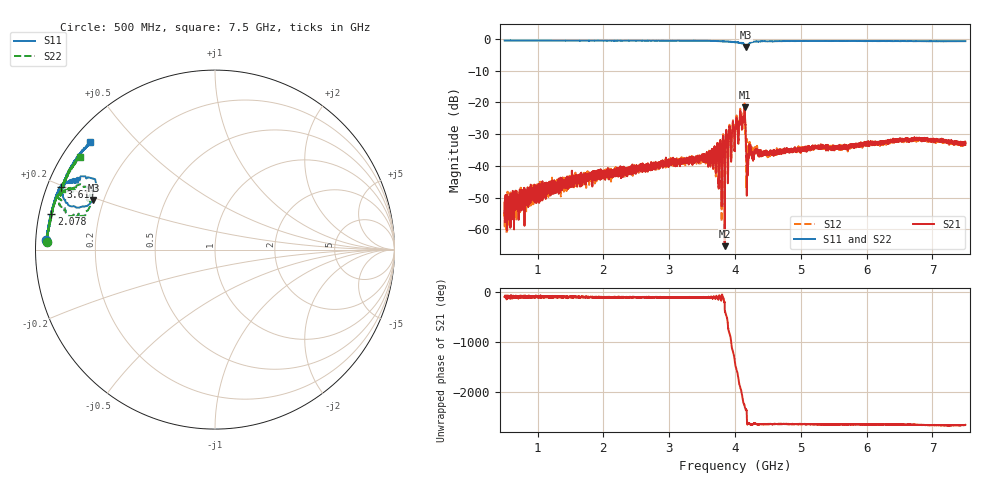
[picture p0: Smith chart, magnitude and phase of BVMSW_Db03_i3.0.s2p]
!Keysight Technologies,M9374A,MY55442783,A.12.55.05
!Date: Friday, May 21, 2021 10:54:32
!Correction: S11(Full 2 Port(1,2))
!S21(Full 2 Port(1,2))
!S12(Full 2 Port(1,2))
!S22(Full 2 Port(1,2))
!S2P File: Measurements: S11, S21, S12, S22:
# Hz S  RI  R 50
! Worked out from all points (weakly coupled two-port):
!   7001 points, 500 MHz to 7.5 GHz, reference 50 ohm
!   highest |S21| = -21.51 dB at 4.145 GHz (marker M1); lowest = -65.3 dB at 3.843 GHz (marker M2)
!   lowest |S11| = -2.7 dB at 4.171 GHz (marker M3), VSWR 6.45, Z = 8.04 + j9.59 ohm
!   |S11| at or under -10 dB: nowhere
!   |S22| runs from -2.7 to -0.5 dB; largest |S21 - S12| = 0.037
!   S11 on the Smith chart (normalised r, x): 500 MHz: 0.03, +0.03; 2.078 GHz: 0.03, +0.11; 3.611 GHz: 0.04, +0.19; 7.5 GHz: 0.05, +0.37
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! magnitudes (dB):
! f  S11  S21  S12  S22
! 500 MHz  -0.5  -54.9  -56.7  -0.6
! 865 MHz  -0.6  -50.1  -49.4  -0.6
! 1.667 GHz  -0.6  -43.5  -43.4  -0.6
! 2.078 GHz  -0.6  -42.5  -43.8  -0.6
! 2.834 GHz  -0.6  -39.4  -41.5  -0.6
! 3.611 GHz  -0.7  -35.4  -35.5  -0.7
! 3.754 GHz  -0.7  -44.9  -43.8  -0.7
! 3.774 GHz  -0.7  -32.4  -32.0  -0.8
! 3.798 GHz  -0.7  -50.6  -47.4  -0.8
! 3.819 GHz  -0.8  -30.7  -30.6  -0.8
! 3.843 GHz  -0.8  -65.3  -50.1  -0.8
! 3.869 GHz  -0.8  -29.4  -29.4  -0.9
! 3.889 GHz  -0.8  -41.8  -42.6  -0.9
! 3.917 GHz  -0.9  -27.7  -27.0  -1.0
! 4 GHz  -1.0  -33.8  -32.5  -1.1
! 4.113 GHz  -1.3  -27.8  -26.5  -1.5
! 4.145 GHz  -2.3  -21.5  -20.4  -2.4
! 4.171 GHz  -2.7  -35.4  -45.7  -2.6
! 4.207 GHz  -1.7  -37.1  -36.7  -1.7
! 5.167 GHz  -0.7  -33.9  -34.1  -0.7
! 6.334 GHz  -0.7  -32.7  -32.0  -0.7
! 7.5 GHz  -0.7  -33.3  -33.2  -0.8
